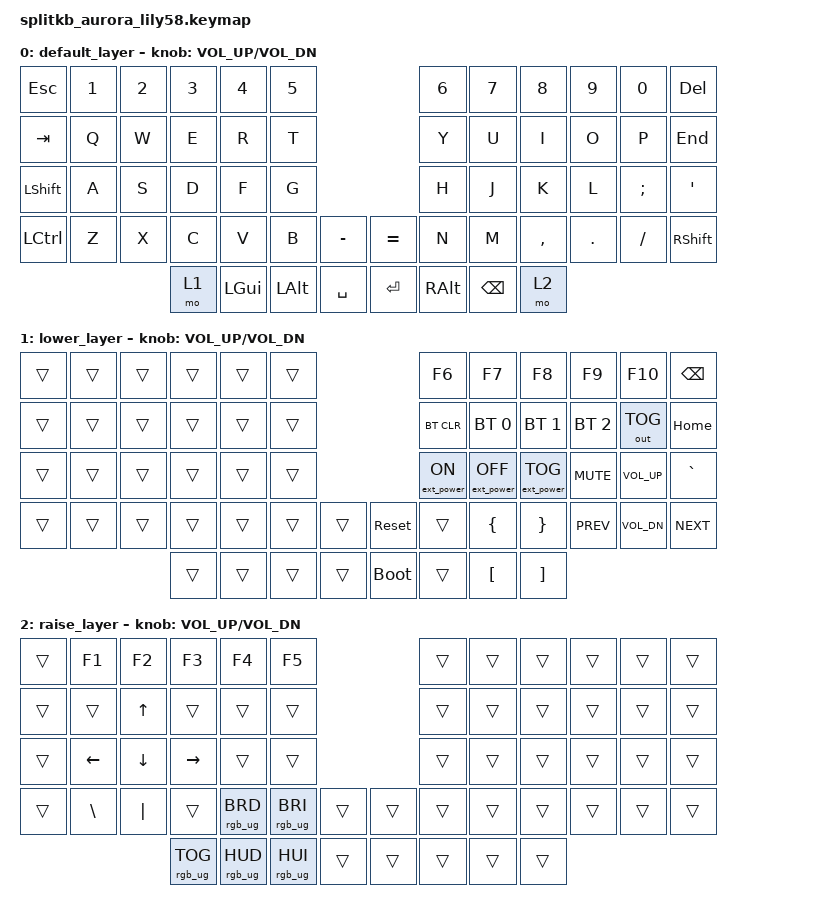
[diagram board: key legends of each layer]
/*
 * Copyright (c) 2020 The ZMK Contributors
 *
 * SPDX-License-Identifier: MIT
 */

#include <behaviors.dtsi>
#include <dt-bindings/zmk/keys.h>
#include <dt-bindings/zmk/bt.h>
#include <dt-bindings/zmk/ext_power.h>
#include <dt-bindings/zmk/outputs.h>
#include <dt-bindings/zmk/rgb.h>


&led_strip { chain-length = <34>; };


/ {
	keymap {
		compatible = "zmk,keymap";

		default_layer {
// ------------------------------------------------------------------------------------------------------------
// |  ESC  |  1   |  2   |  3   |   4    |  5   |                    |   6    |    7     |   8     |   9    |    0    |  DEL   |
// |  TAB  |  Q   |  W   |  E   |   R    |  T   |                    |   Y    |    U     |   I     |   O    |    P    |  END   |
// | SHIFT |  A   |  S   |  D   |   F    |  G   |                    |   H    |    J     |   K     |   L    |    ;    |   '    |
// | CTRL  |  Z   |  X   |  C   |   V    |  B   |     -     ||   =   |   N    |    M     |   ,     |   .    |    /    | SHIFT  |
//                       | LOWER|  GUI   |  ALT |   SPACE   || ENTER | ALT    |   BSPC   |  RAISE  |
bindings = < 
&kp ESC     &kp N1 &kp N2 &kp N3   &kp N4   &kp N5                      &kp N6    &kp N7   &kp N8     &kp N9  &kp N0    &kp DEL
&kp TAB     &kp Q  &kp W  &kp E    &kp R    &kp T                       &kp Y     &kp U    &kp I      &kp O   &kp P     &kp END
&kp LSHFT   &kp A  &kp S  &kp D    &kp F    &kp G                       &kp H     &kp J    &kp K      &kp L   &kp SEMI  &kp SQT
&kp LCTRL   &kp Z  &kp X  &kp C    &kp V    &kp B     &kp MINUS  &kp EQUAL &kp N     &kp M    &kp COMMA &kp DOT  &kp FSLH  &kp RSHFT
                          &mo 1    &kp LGUI &kp LALT  &kp SPACE  &kp RET   &kp RALT  &kp BSPC &mo 2 
			>;

			sensor-bindings = <&inc_dec_kp C_VOL_UP C_VOL_DN>;
		};

		lower_layer {
// ----------------------------------------------------------------------------------------------------------------------------------------------------
// |        |         |      |       |       |       |                     |   F6      |    F7      |       F8    |     F9      |    F10      |  BSPC |
// |        |         |      |       |       |       |                     |  BTCLR    |    BT0     |      BT1    |     BT2     |   BT/USB    |  HOME |
// |        |         |      |       |       |       |                     |EXT P_ON   |EXT P_OFF   |EXT P_TOG    |    MUTE     |   VOL UP    |    `  |
// |        |         |      |       |       |       |       |  | reset    |           |      {     |     }       |    PREV     |   VOL DN    |  NEXT |
//                           |       |       |       |       |  | Boot     |           |      [     |     ]       |
bindings = <
     &trans  &trans   &trans  &trans  &trans  &trans    		    &kp F6     &kp F7       &kp F8        &kp F9      &kp F10        &kp BSPC
     &trans   &trans   &trans  &trans  &trans  &trans                        &bt BT_CLR &bt BT_SEL 0  &bt BT_SEL 1  &bt BT_SEL 2 &out OUT_TOG   &kp HOME
     &trans   &trans   &trans  &trans  &trans  &trans                        &ext_power EP_ON  &ext_power EP_OFF    &ext_power EP_TOG &kp C_MUTE   &kp C_VOL_UP  &kp GRAVE
     &trans   &trans   &trans  &trans  &trans  &trans   &trans   &sys_reset  &trans     &kp LBRC      &kp RBRC      &kp C_PREV   &kp C_VOL_DN   &kp C_NEXT
                               &trans  &trans  &trans   &trans   &bootloader &trans     &kp LBKT      &kp RBKT
			>;

			sensor-bindings = <&inc_dec_kp C_VOL_UP C_VOL_DN>;
		};

		raise_layer {
// ------------------------------------------------------------------------------------------------------------
// |       |   F1   |   F2    |    F3    |  F4   |  F5   |                                         |        |       |       |      |       |       |
// |       |       |    UP    |          |       |       |                                         |        |       |       |      |       |       |
// |       |  LEFT  |  DOWN   | RIGHT    |       |       |                                         |        |       |       |      |       |       |
// |       |        |         |          |RGB_BRD|RGB_BRI|        |                       |        |        |       |       |      |       |       |
//                            |  RGB_TOG |RGB_HUD|RGB_HUI|        |                       |        |        |       |       |
			bindings = <
    &trans  &kp F1    &kp F2    &kp F3    &kp F4  &kp F5                                            &trans  &trans  &trans  &trans &trans  &trans
    &trans  &trans     &kp UP   &trans    &trans  &trans                                            &trans  &trans  &trans  &trans &trans  &trans
    &trans  &kp LEFT  &kp DOWN  &kp RIGHT &trans  &trans                                            &trans  &trans  &trans  &trans &trans  &trans
    &trans  &kp BSLH  &kp PIPE  &trans    &rgb_ug RGB_BRD  &rgb_ug RGB_BRI &trans          &trans   &trans  &trans  &trans  &trans &trans  &trans
                        &rgb_ug RGB_TOG  &rgb_ug RGB_HUD  &rgb_ug RGB_HUI  &trans          &trans   &trans  &trans  &trans
			>;

			sensor-bindings = <&inc_dec_kp C_VOL_UP C_VOL_DN>;
		};
	};
};
